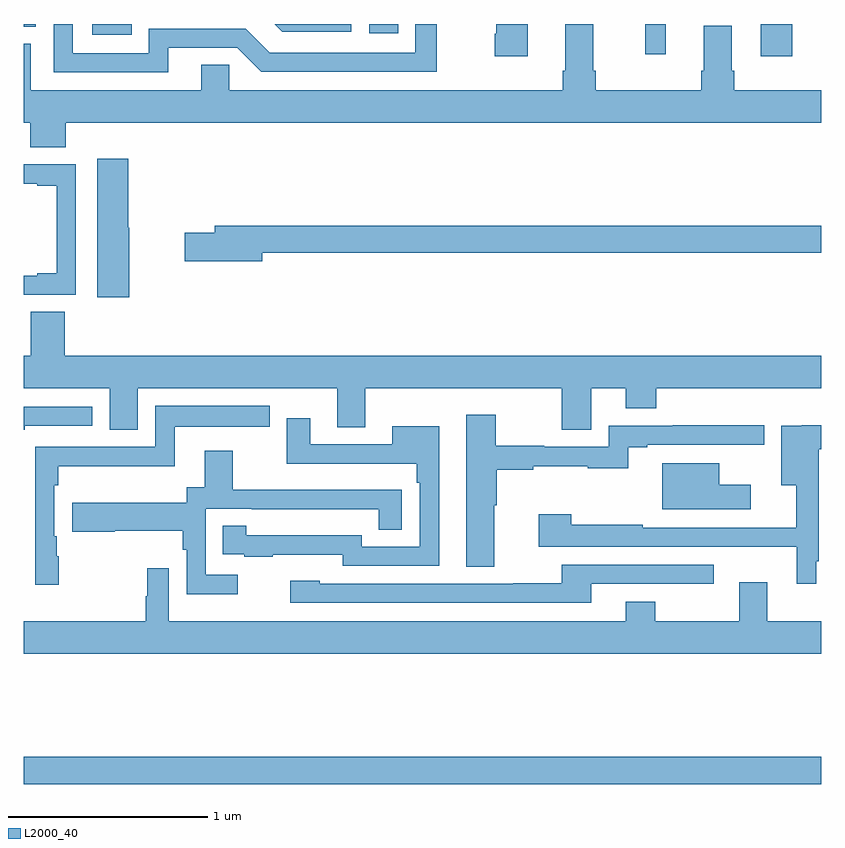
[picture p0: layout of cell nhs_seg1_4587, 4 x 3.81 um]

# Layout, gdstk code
import gdstk
lib = gdstk.Library(unit=1e-6, precision=1e-09)
def R(c, l, rs):  # rectangles x0, y0, x1, y1
    for r in rs: c.add(gdstk.rectangle(r[:2], r[2:], *l))
def P(c, l, *ps):  # polygons
    for p in ps: c.add(gdstk.Polygon(p, *l))
L2000_40 = (2000, 40)

nhs_seg1_4587 = lib.new_cell('nhs_seg1_4587')
R(nhs_seg1_4587, L2000_40, [(359,576.388,363,576.524), (362.696,580.038,362.855,580.199), (362.116,580.047,362.219,580.199), (359.343,580.145,359.541,580.199), (360.732,580.152,360.878,580.199), (359,580.185,359.061,580.199)])
P(nhs_seg1_4587, L2000_40, [(361.528,580.199),(361.37,580.199),(361.37,580.15),(361.363,580.15),(361.363,580.038),(361.528,580.038)],
  [(359.725,580.08),(360.072,580.08),(360.192,579.96),(361.072,579.96),(361.072,580.199),(360.963,580.199),(360.963,580.056),(360.234,580.056),(360.114,580.176),(359.628,580.176),(359.628,580.053),(359.247,580.053),(359.247,580.199),(359.151,580.199),(359.151,579.957),(359.725,579.957)],
  [(359.21,579.704),(363,579.704),(363,579.868),(362.564,579.868),(362.564,579.964),(362.551,579.964),(362.551,580.189),(362.411,580.189),(362.411,579.964),(362.399,579.964),(362.399,579.868),(361.868,579.868),(361.868,579.964),(361.855,579.964),(361.855,580.199),(361.715,580.199),(361.715,579.964),(361.703,579.964),(361.703,579.868),(360.03,579.868),(360.03,579.995),(359.891,579.995),(359.891,579.868),(359.035,579.868),(359.035,580.1),(359,580.1),(359,579.704),(359.033,579.704),(359.033,579.58),(359.21,579.58)],
  [(360.642,580.199),(360.258,580.199),(360.296,580.161),(360.642,580.161)],
  [(359.53,579.177),(359.525,579.177),(359.525,579.523),(359.369,579.523),(359.369,578.829),(359.53,578.829)],
  [(359.262,579.495),(359,579.495),(359,579.399),(359.069,579.399),(359.069,579.387),(359.165,579.387),(359.165,578.95),(359.069,578.95),(359.069,578.937),(359,578.937),(359,578.841),(359.262,578.841)],
  [(360.196,579.052),(363,579.052),(363,579.188),(359.957,579.188),(359.957,579.152),(359.808,579.152),(359.808,579.01),(360.196,579.01)],
  [(359.572,578.372),(360.572,578.372),(360.572,578.176),(360.712,578.176),(360.712,578.372),(361.699,578.372),(361.699,578.164),(361.846,578.164),(361.846,578.372),(362.018,578.372),(362.018,578.273),(362.171,578.273),(362.171,578.372),(363,578.372),(363,578.536),(359.207,578.536),(359.207,578.756),(359.036,578.756),(359.036,578.536),(359,578.536),(359,578.372),(359.432,578.372),(359.432,578.164),(359.572,578.164)],
  [(359.175,577.53),(359.166,577.53),(359.166,577.63),(359.154,577.63),(359.154,577.886),(359.174,577.886),(359.174,577.982),(359.758,577.982),(359.758,578.18),(360.235,578.18),(360.235,578.284),(359.661,578.284),(359.661,578.079),(359.057,578.079),(359.057,577.386),(359.175,577.386)],
  [(359.005,578.184),(359.344,578.184),(359.344,578.28),(359,578.28),(359,578.164),(359.005,578.164)],
  [(361.36,577.786),(361.373,577.786),(361.373,577.963),(361.556,577.963),(361.556,577.981),(361.828,577.981),(361.828,577.971),(362.032,577.971),(362.032,578.076),(362.128,578.076),(362.128,578.088),(362.713,578.088),(362.713,578.186),(362.254,578.186),(362.254,578.184),(361.935,578.184),(361.935,578.079),(361.61,578.079),(361.61,578.084),(361.368,578.084),(361.368,578.239),(361.22,578.239),(361.22,577.477),(361.36,577.477)],
  [(361.084,578.182),(360.848,578.182),(360.848,578.091),(360.436,578.091),(360.436,578.221),(360.32,578.221),(360.32,577.994),(360.97,577.994),(360.97,577.898),(360.987,577.898),(360.987,577.578),(360.696,577.578),(360.696,577.636),(360.117,577.636),(360.117,577.682),(359.998,577.682),(359.998,577.539),(360.106,577.539),(360.106,577.527),(360.248,577.527),(360.248,577.538),(360.6,577.538),(360.6,577.482),(361.084,577.482)],
  [(362.974,577.504),(362.986,577.504),(362.986,578.066),(363,578.066),(363,578.186),(362.902,578.186),(362.902,578.185),(362.798,578.185),(362.798,577.886),(362.875,577.886),(362.875,577.674),(362.105,577.674),(362.105,577.687),(361.745,577.687),(361.745,577.741),(361.584,577.741),(361.584,577.578),(362.548,577.578),(362.548,577.577),(362.876,577.577),(362.876,577.392),(362.974,577.392)],
  [(360.073,577.437),(359.913,577.437),(359.913,577.767),(360.145,577.767),(360.145,577.766),(360.781,577.766),(360.781,577.663),(360.896,577.663),(360.896,577.863),(360.794,577.863),(360.794,577.864),(360.049,577.864),(360.049,578.059),(359.909,578.059),(359.909,577.876),(359.817,577.876),(359.817,577.798),(359.244,577.798),(359.244,577.654),(359.456,577.654),(359.456,577.658),(359.797,577.658),(359.797,577.562),(359.817,577.562),(359.817,577.34),(360.073,577.34)],
  [(362.647,577.888),(362.488,577.888),(362.488,577.996),(362.201,577.996),(362.201,577.766),(362.647,577.766)],
  [(361.846,577.392),(362.461,577.392),(362.461,577.488),(361.699,577.488),(361.699,577.394),(361.456,577.394),(361.456,577.392),(360.486,577.392),(360.486,577.408),(360.336,577.408),(360.336,577.296),(361.846,577.296)],
  [(363,577.204),(362.728,577.204),(362.728,577.399),(362.588,577.399),(362.588,577.204),(362.166,577.204),(362.166,577.303),(362.018,577.303),(362.018,577.204),(359.727,577.204),(359.727,577.471),(359.619,577.471),(359.619,577.329),(359.611,577.329),(359.611,577.204),(359,577.204),(359,577.04),(363,577.04)])

lib.write_gds('nhs_seg1_4587.gds')
